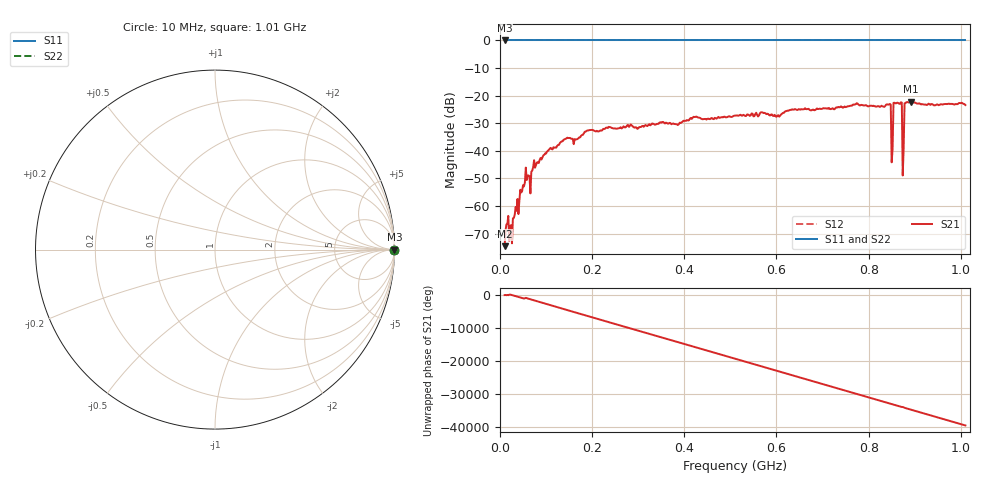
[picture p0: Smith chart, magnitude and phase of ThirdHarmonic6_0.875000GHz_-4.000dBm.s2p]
! 8/16/2025 4:51:05 AM
! C:\ANRITSUVNA\TEMP\TEMP.S2P
! CHANNEL.1
! TR.MEASUREMENT
! RAW.DATA
! RF.CORRECTION.OFF
! AVERAGING.OFF
! IF.BANDWIDTH: 5KHZ
! SWEEPTYPE:  FREQ.SWEEP(Linear)
! Reference Plane Port Info
! PORT:  PORT1  PORT2
! DISTANCE:  0  m  0  m
! TIME:  0  s  0  s
! PHASE.OFFSET:  0  deg.  0  deg.
! LOSS:  0  dB  0  dB
! REF.LOSS:  0  dB  0  dB
! REF.FREQ:  0  Hz  0  Hz
! Power Info
! POWER:  -20  dBm  -20  dBm
! EFF.POWER:  -20  dBm  -20  dBm
! SOURCE.ATTEN:  0  dB  0  dB
! TEST.ATTEN:  0  dB  0  dB
# GHZ S RI R 50.0
! FREQ.GHZ  S11RE  S11IM  S21RE  S21IM  S12RE  S12IM  S22RE  S22IM
!; PortSelection: Port_12
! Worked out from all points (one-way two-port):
!   501 points, 10 MHz to 1.01 GHz, reference 50 ohm
!   highest |S21| = -22.22 dB at 892 MHz (marker M1); lowest = -74.6 dB at 10 MHz (marker M2)
!   lowest |S11| = 0.0 dB at 10 MHz (marker M3)
!   |S11| at or under -10 dB: nowhere
!   |S22| runs from 0.0 to 0.0 dB; largest |S21 - S12| = 1.1
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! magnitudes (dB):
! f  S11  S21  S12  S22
! 10 MHz  0.0  -74.6  0.0  0.0
! 14 MHz  0.0  -66.7  0.0  0.0
! 24 MHz  0.0  -66.9  0.0  0.0
! 52 MHz  0.0  -52.9  0.0  0.0
! 60 MHz  0.0  -49.0  0.0  0.0
! 66 MHz  0.0  -55.4  0.0  0.0
! 76 MHz  0.0  -46.1  0.0  0.0
! 142 MHz  0.0  -35.7  0.0  0.0
! 178 MHz  0.0  -34.3  0.0  0.0
! 344 MHz  0.0  -30.2  0.0  0.0
! 510 MHz  0.0  -27.2  0.0  0.0
! 678 MHz  0.0  -25.1  0.0  0.0
! 844 MHz  0.0  -23.2  0.0  0.0
! 848 MHz  0.0  -23.2  0.0  0.0
! 854 MHz  0.0  -22.6  0.0  0.0
! 858 MHz  0.0  -22.8  0.0  0.0
! 868 MHz  0.0  -23.0  0.0  0.0
! 872 MHz  0.0  -22.5  0.0  0.0
! 878 MHz  0.0  -22.8  0.0  0.0
! 882 MHz  0.0  -22.4  0.0  0.0
! 892 MHz  0.0  -22.2  0.0  0.0
! 1.01 GHz  0.0  -23.4  0.0  0.0
